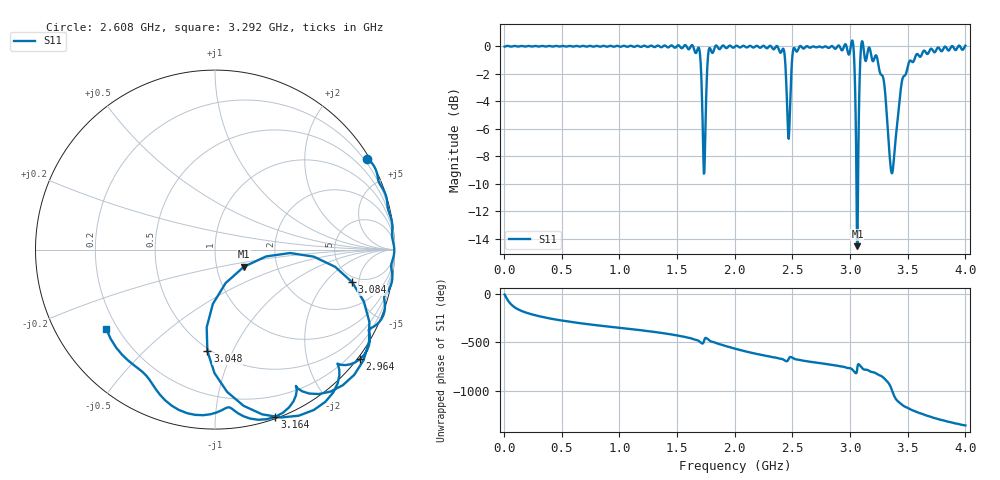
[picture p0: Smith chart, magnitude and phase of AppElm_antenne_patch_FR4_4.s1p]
! TOUCHSTONE file generated by CST MICROWAVE STUDIO
! Date and time: Tue Jun  7 20:03:43 2022
! Project name: AppElm_antenne_patch_FR4.cst
! Parameters = {L=40.5; W=58.5; e=0.035; h=1.6; lambda=0.190476; ls=120; w0=1.6; w1=0.533333; ws=120; y0=20; y1=23.8095}
! Header version: 2018
! Port assignment regex: !\s*Touchstone port\s*([0-9]+)\s*=\s*(CST MWS port|CST DS port)\s*([0-9]+|Zmin|Zmax)\s*\(\"(.*)\"\)(\s*mode\s*([0-9]+))?.*
! Touchstone port assignment:
! Touchstone port 1 = CST MWS port 1 ("")
# GHz S MA R 50
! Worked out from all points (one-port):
!   1000 points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, 4 MHz to 4 GHz, reference 50 ohm
!   lowest |S11| = -14.6 dB at 3.064 GHz (marker M1), VSWR 1.46, Z = 67.7 - j13.4 ohm
!   |S11| at or under -10 dB: 3.055516 GHz to 3.06902 GHz (13.5 MHz wide, 0.441 % of centre)
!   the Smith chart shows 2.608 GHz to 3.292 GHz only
!   S11 on the Smith chart (normalised r, x): 2.608 GHz: 0.08, +3.62; 2.964 GHz: -0.06, -2.98; 3.048 GHz: 0.48, -0.80; 3.084 GHz: 4.32, -4.10; 3.164 GHz: 0.01, -1.42; 3.292 GHz: 0.16, -0.32
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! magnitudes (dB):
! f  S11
! 4 MHz  0.0
! 504 MHz  0.0
! 1.004 GHz  0.0
! 1.504 GHz  0.0
! 1.684 GHz  -0.1
! 1.7 GHz  -0.7
! 1.732 GHz  -9.3
! 1.784 GHz  -0.1
! 2.004 GHz  0.0
! 2.412 GHz  -0.3
! 2.468 GHz  -6.7
! 2.504 GHz  -0.4
! 2.608 GHz  -0.1
! 2.964 GHz  0.1
! 3.004 GHz  -0.1
! 3.028 GHz  0.0
! 3.048 GHz  -4.9
! 3.064 GHz  -14.6
! 3.076 GHz  -5.2
! 3.084 GHz  -2.1
! 3.092 GHz  -0.5
! 3.104 GHz  0.4
! 3.164 GHz  -0.1
! 3.292 GHz  -2.5
! 3.364 GHz  -9.2
! 3.444 GHz  -2.8
! 3.504 GHz  -1.4
! 4 GHz  0.0
